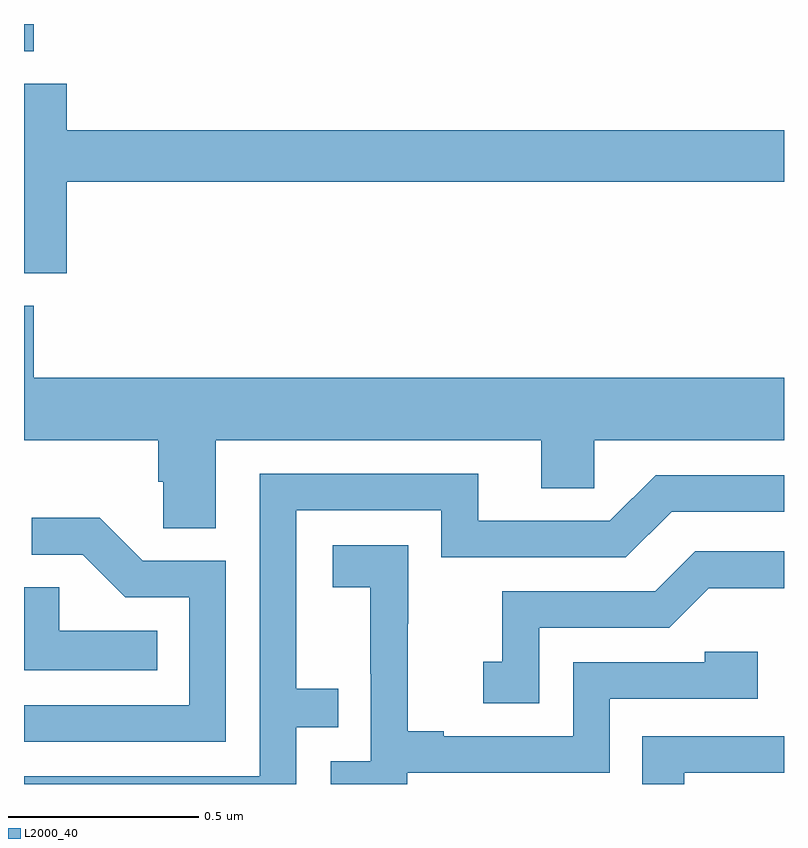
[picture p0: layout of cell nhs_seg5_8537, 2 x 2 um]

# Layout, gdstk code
import gdstk
lib = gdstk.Library(unit=1e-6, precision=1e-09)
def R(c, l, rs):  # rectangles x0, y0, x1, y1
    for r in rs: c.add(gdstk.rectangle(r[:2], r[2:], *l))
def P(c, l, *ps):  # polygons
    for p in ps: c.add(gdstk.Polygon(p, *l))
L2000_40 = (2000, 40)

nhs_seg5_8537 = lib.new_cell('nhs_seg5_8537')
R(nhs_seg5_8537, L2000_40, [(222,913.727,222.026,913.799)])
P(nhs_seg5_8537, L2000_40, [(222.112,913.384),(224,913.384),(224,913.52),(222.112,913.52),(222.112,913.642),(222,913.642),(222,913.143),(222.112,913.143)],
  [(222.505,912.704),(223.361,912.704),(223.361,912.577),(223.5,912.577),(223.5,912.704),(224,912.704),(224,912.868),(222.026,912.868),(222.026,913.058),(222,913.058),(222,912.704),(222.353,912.704),(222.353,912.595),(222.366,912.595),(222.366,912.472),(222.505,912.472)],
  [(222.717,911.949),(222.827,911.949),(222.827,912.05),(222.717,912.05),(222.717,912.519),(223.098,912.519),(223.098,912.396),(223.584,912.396),(223.704,912.516),(224,912.516),(224,912.612),(223.662,912.612),(223.542,912.492),(223.195,912.492),(223.195,912.615),(222.621,912.615),(222.621,911.82),(222,911.82),(222,911.799),(222.717,911.799)],
  [(222.531,912.387),(222.312,912.387),(222.199,912.5),(222.021,912.5),(222.021,912.402),(222.155,912.402),(222.266,912.291),(222.435,912.291),(222.435,912.006),(222,912.006),(222,911.91),(222.531,911.91)],
  [(223.008,911.829),(223.542,911.829),(223.542,912.024),(223.931,912.024),(223.931,912.147),(223.791,912.147),(223.791,912.12),(223.446,912.12),(223.446,911.925),(223.105,911.925),(223.105,911.938),(223.01,911.938),(223.01,912.221),(223.011,912.221),(223.011,912.427),(222.813,912.427),(222.813,912.317),(222.911,912.317),(222.911,912.089),(222.912,912.089),(222.912,911.859),(222.807,911.859),(222.807,911.799),(223.008,911.799)],
  [(223.356,912.21),(223.698,912.21),(223.802,912.314),(224,912.314),(224,912.411),(223.766,912.411),(223.661,912.306),(223.258,912.306),(223.258,912.121),(223.209,912.121),(223.209,912.012),(223.356,912.012)],
  [(222.35,912.202),(222.093,912.202),(222.093,912.317),(222,912.317),(222,912.098),(222.35,912.098)],
  [(223.738,911.829),(224,911.829),(224,911.925),(223.627,911.925),(223.627,911.799),(223.738,911.799)])

lib.write_gds('nhs_seg5_8537.gds')
